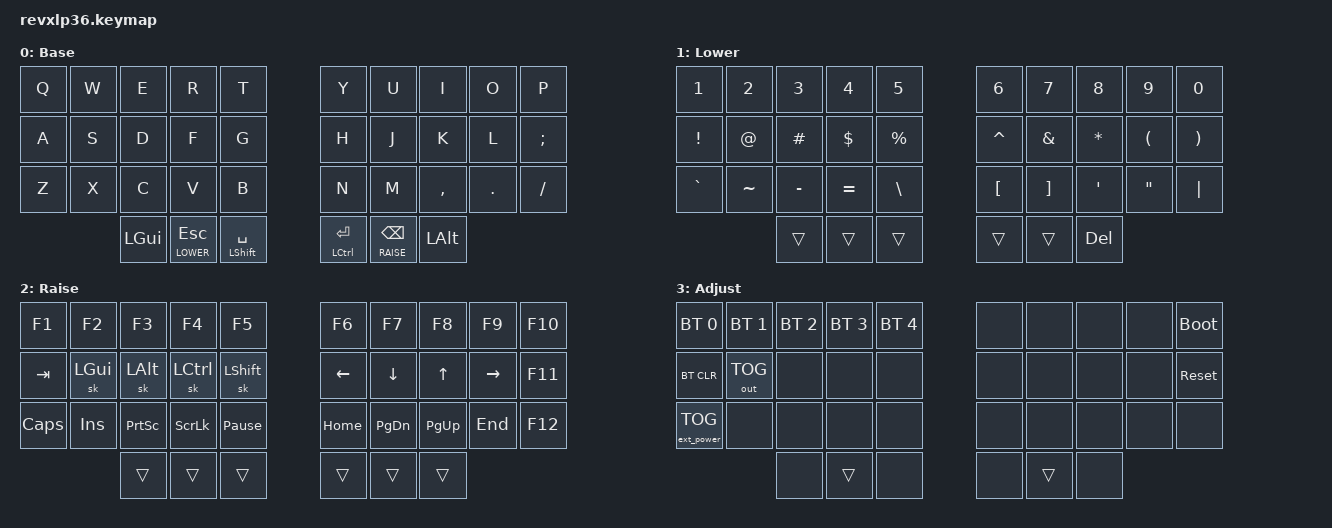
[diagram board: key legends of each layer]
/*
 * Copyright (c) 2020 The ZMK Contributors
 *
 * SPDX-License-Identifier: MIT
 *
 * revxlp 10u / 36 キー版 (譲渡機用) の標準 QWERTY キーマップ。
 * 独自配列 (snippets/fj88/k30.keymap) には依存しない。
 */

#include <behaviors.dtsi>
#include <dt-bindings/zmk/keys.h>
#include <dt-bindings/zmk/bt.h>
#include <dt-bindings/zmk/outputs.h>
#include <dt-bindings/zmk/ext_power.h>

#define BASE 0
#define LOWER 1
#define RAISE 2
#define ADJUST 3

#define XXX &none
#define ___ &trans

/ {
    conditional_layers {
        compatible = "zmk,conditional-layers";
        adjust {
            if-layers = <LOWER RAISE>;
            then-layer = <ADJUST>;
        };
    };

    keymap {
        compatible = "zmk,keymap";

        //  |  0 |  1 |  2 |  3 |  4 |   |  5 |  6 |  7 |  8 |  9 |
        //  | 10 | 11 | 12 | 13 | 14 |   | 15 | 16 | 17 | 18 | 19 |
        //  | 20 | 21 | 22 | 23 | 24 |   | 25 | 26 | 27 | 28 | 29 |
        //            | 30 | 31 | 32 |   | 33 | 34 | 35 |

        //  Q     W     E     R     T   |   Y     U     I     O     P
        //  A     S     D     F     G   |   H     J     K     L     ;
        //  Z     X     C     V     B   |   N     M     ,     .     /
        //     GUI  ESC/LOW  SPC/SFT | ENT/CTL  BSPC/RSE  ALT
        base_layer {
            display-name = "Base";
            bindings = <
                &kp Q         &kp W          &kp E             &kp R        &kp T            &kp Y         &kp U        &kp I      &kp O    &kp P
                &kp A         &kp S          &kp D             &kp F        &kp G            &kp H         &kp J        &kp K      &kp L    &kp SEMI
                &kp Z         &kp X          &kp C             &kp V        &kp B            &kp N         &kp M        &kp COMMA  &kp DOT  &kp FSLH
                                             &kp LGUI  &lt LOWER ESC  &mt LSHFT SPACE  &mt LCTRL RET  &lt RAISE BSPC  &kp LALT
            >;
        };

        //  1     2     3     4     5   |   6     7     8     9     0
        //  !     @     #     $     %   |   ^     &     *     (     )
        //  `     ~     -     =     \   |   [     ]     '     "     |
        //                              |              DEL
        lower_layer {
            display-name = "Lower";
            bindings = <
                &kp N1        &kp N2         &kp N3     &kp N4     &kp N5       &kp N6      &kp N7      &kp N8    &kp N9   &kp N0
                &kp EXCL      &kp AT         &kp HASH   &kp DLLR   &kp PRCNT    &kp CARET   &kp AMPS    &kp STAR  &kp LPAR &kp RPAR
                &kp GRAVE     &kp TILDE      &kp MINUS  &kp EQUAL  &kp BSLH     &kp LBKT    &kp RBKT    &kp SQT   &kp DQT  &kp PIPE
                                             ___        ___        ___          ___         ___         &kp DEL
            >;
        };

        //  F1    F2    F3    F4    F5  |   F6    F7    F8    F9    F10
        //  TAB   sGUI  sALT  sCTL  sSFT|   ←     ↓     ↑     →     F11
        //  CAPS  INS   PSCR  SLCK  PAUS|  HOME  PGDN  PGUP  END    F12
        raise_layer {
            display-name = "Raise";
            bindings = <
                &kp F1        &kp F2         &kp F3     &kp F4     &kp F5             &kp F6      &kp F7      &kp F8     &kp F9    &kp F10
                &kp TAB       &sk LGUI       &sk LALT   &sk LCTRL  &sk LSHFT          &kp LEFT    &kp DOWN    &kp UP     &kp RIGHT &kp F11
                &kp CAPS      &kp INS        &kp PSCRN  &kp SLCK   &kp PAUSE_BREAK    &kp HOME    &kp PG_DN   &kp PG_UP  &kp END   &kp F12
                                             ___        ___        ___                ___         ___         ___
            >;
        };

        //  BT0   BT1   BT2   BT3   BT4 |                             BOOT
        //  BTCLR OUTTOG                |                             RESET
        //  EPTOG                       |
        adjust_layer {
            display-name = "Adjust";
            bindings = <
                &bt BT_SEL 0      &bt BT_SEL 1   &bt BT_SEL 2  &bt BT_SEL 3  &bt BT_SEL 4    XXX  XXX  XXX  XXX  &bootloader
                &bt BT_CLR        &out OUT_TOG   XXX           XXX           XXX             XXX  XXX  XXX  XXX  &sys_reset
                &ext_power EP_TOG XXX            XXX           XXX           XXX             XXX  XXX  XXX  XXX  XXX
                                                 XXX           ___           XXX             XXX  ___  XXX
            >;
        };
    };
};
